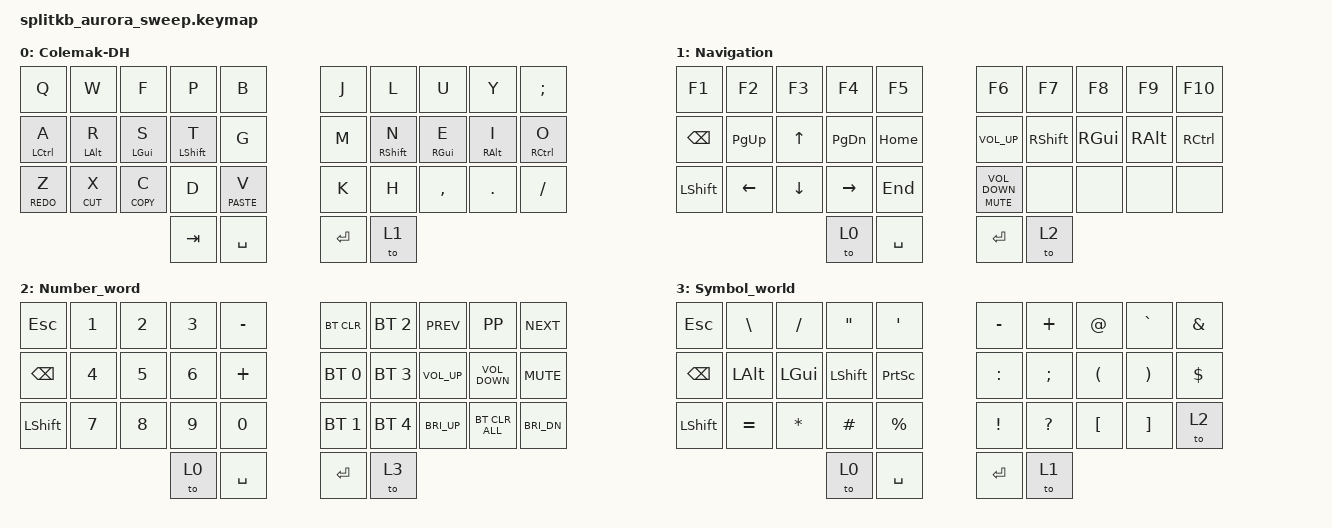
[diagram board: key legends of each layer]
/*
 * Copyright (c) 2022 The ZMK Contributors
 *
 * SPDX-License-Identifier: MIT
 */

#include <behaviors.dtsi>
#include <dt-bindings/zmk/bt.h>
#include <dt-bindings/zmk/keys.h>

&mt {
    //  flavor = "tap-preferred";
    // tapping-term-ms = <200>;
};

/ {
    combos {
        compatible = "zmk,combos";

        esc_L {
            bindings = <&kp ESCAPE>;
            key-positions = <13 12>;
        };

        esc_R {
            bindings = <&kp ESCAPE>;
            key-positions = <16 17>;
        };

        tab {
            bindings = <&kp TAB>;
            key-positions = <11 13>;
        };

        alt_L {
            bindings = <&kp LEFT_ALT>;
            key-positions = <11 12>;
        };

        backspace {
            bindings = <&kp BACKSPACE>;
            key-positions = <10 11>;
        };

        to_lay0 {
            bindings = <&to 0>;
            key-positions = <20 29>;
            layers = <0 2 1 3>;
            timeout-ms = <500>;
        };

        to_lay1 {
            bindings = <&to 1>;
            key-positions = <24 25>;
            timeout-ms = <500>;
            layers = <0 2 1 3>;
        };

        to_lay2 {
            bindings = <&to 2>;
            key-positions = <30 33>;
            timeout-ms = <500>;
            layers = <0 1 2 3>;
        };

        to_lay3 {
            bindings = <&to 3>;
            key-positions = <31 32>;
            timeout-ms = <500>;
            layers = <0 2 1 3>;
        };
    };

    behaviors {
        hrm_l: hrm_l {
            compatible = "zmk,behavior-hold-tap";
            label = "HRM_L";
            bindings = <&kp>, <&kp>;

            #binding-cells = <2>;
            tapping-term-ms = <280>;
            quick-tap-ms = <175>;
            flavor = "balanced";
            hold-trigger-on-release;
            hold-trigger-key-positions = <0 1 3 4 10 11 12 13 14 20 21 22 23 24 30 31 2 32 33>;
            require-prior-idle-ms = <244>;
        };

        hrm_r: hrm_r {
            compatible = "zmk,behavior-hold-tap";
            label = "HRM_R";
            bindings = <&kp>, <&kp>;

            #binding-cells = <2>;
            tapping-term-ms = <280>;
            quick-tap-ms = <175>;
            flavor = "balanced";
            hold-trigger-on-release;
            hold-trigger-key-positions = <30 31 32 33 5 6 7 8 9 15 16 17 18 19 25 26 27 28 29 33>;
            require-prior-idle-ms = <244>;
        };
    };

    keymap {
        compatible = "zmk,keymap";

        Colemak-DH {
            bindings = <
&kp Q         &kp W           &kp F           &kp P             &kp B            &kp J  &kp L              &kp U            &kp Y            &kp SEMI
&mt LCTRL A   &mt LEFT_ALT R  &mt LEFT_GUI S  &mt LEFT_SHIFT T  &kp G            &kp M  &mt RIGHT_SHIFT N  &mt RIGHT_GUI E  &mt RIGHT_ALT I  &mt RCTRL O
&mt K_REDO Z  &mt K_CUT X     &mt K_COPY C    &kp D             &mt K_PASTE V    &kp K  &kp H              &kp COMMA        &kp DOT          &kp FSLH
&kp TAB       &kp SPACE                                                                                                     &kp ENTER        &to 1
            >;
        };

        Navigation {
            bindings = <
&kp F1          &kp F2       &kp F3        &kp F4         &kp F5      &kp F6                    &kp F7           &kp F8         &kp F9         &kp F10
&kp BACKSPACE   &kp PAGE_UP  &kp UP_ARROW  &kp PAGE_DOWN  &kp HOME    &kp C_VOLUME_UP           &kp RIGHT_SHIFT  &kp RIGHT_GUI  &kp RIGHT_ALT  &kp RCTRL
&kp LEFT_SHIFT  &kp LEFT     &kp DOWN      &kp RIGHT      &kp END     &mt K_MUTE C_VOLUME_DOWN  &none            &none          &none          &none
&to 0           &kp SPACE                                                                                                       &kp ENTER      &to 2
            >;
        };

        Number_word {
            bindings = <
&kp ESC         &kp N1     &kp N2  &kp N3  &kp MINUS    &bt BT_CLR    &bt BT_SEL 2  &kp K_PREV       &kp K_PP           &kp K_NEXT
&kp BACKSPACE   &kp N4     &kp N5  &kp N6  &kp PLUS     &bt BT_SEL 0  &bt BT_SEL 3  &kp C_VOLUME_UP  &kp C_VOLUME_DOWN  &kp K_MUTE
&kp LEFT_SHIFT  &kp N7     &kp N8  &kp N9  &kp N0       &bt BT_SEL 1  &bt BT_SEL 4  &kp C_BRI_UP     &bt BT_CLR_ALL     &kp C_BRI_DN
&to 0           &kp SPACE                                                                            &kp ENTER          &to 3
            >;
        };

        Symbol_world {
            bindings = <
&kp ESC         &kp BACKSLASH  &kp SLASH     &kp DOUBLE_QUOTES  &kp SINGLE_QUOTE    &kp MINUS  &kp PLUS      &kp AT                &kp GRAVE              &kp AMPS
&kp BACKSPACE   &kp LEFT_ALT   &kp LEFT_GUI  &kp LEFT_SHIFT     &kp PRINTSCREEN     &kp COLON  &kp SEMI      &kp LEFT_PARENTHESIS  &kp RIGHT_PARENTHESIS  &kp DLLR
&kp LEFT_SHIFT  &kp EQUAL      &kp STAR      &kp HASH           &kp PERCENT         &kp EXCL   &kp QUESTION  &kp LEFT_BRACKET      &kp RIGHT_BRACKET      &to 2
&to 0           &kp SPACE                                                                                                          &kp ENTER              &to 1
            >;
        };
    };
};
